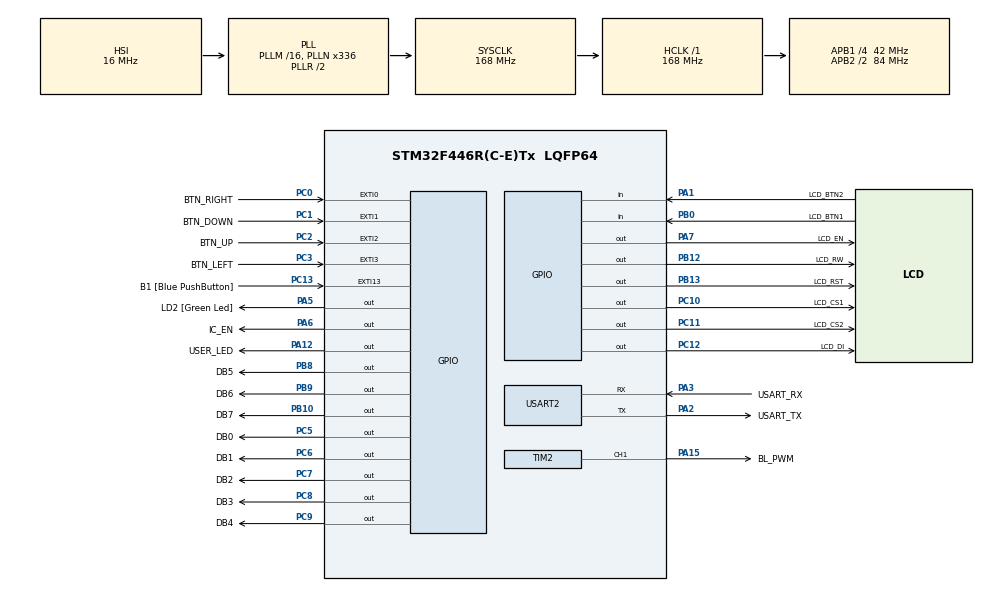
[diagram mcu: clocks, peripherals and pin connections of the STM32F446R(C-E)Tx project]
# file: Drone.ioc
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Mcu.Family=STM32F4
Mcu.Name=STM32F446R(C-E)Tx
Mcu.Package=LQFP64
NVIC.EXTI0_IRQn=true\:0\:0\:false\:false\:true\:true\:true\:true
NVIC.EXTI1_IRQn=true\:0\:0\:false\:false\:true\:true\:true\:true
NVIC.EXTI2_IRQn=true\:0\:0\:false\:false\:true\:true\:true\:true
NVIC.EXTI3_IRQn=true\:0\:0\:false\:false\:true\:true\:true\:true
NVIC.PriorityGroup=NVIC_PRIORITYGROUP_0
NVIC.TIM4_IRQn=true\:0\:0\:false\:false\:true\:true\:true\:true
NVIC.USART2_IRQn=true\:0\:0\:false\:false\:true\:true\:true\:true
PA1.GPIO_Label=LCD_BTN2
PA1.Signal=GPIO_Input
PA12.GPIO_Label=USER_LED
PA12.Signal=GPIO_Output
PA13.GPIO_Label=TMS
PA13.Mode=Serial_Wire
PA13.Signal=SYS_JTMS-SWDIO
PA14.GPIO_Label=TCK
PA14.Mode=Serial_Wire
PA14.Signal=SYS_JTCK-SWCLK
PA15.GPIO_Label=BL_PWM
PA15.Signal=S_TIM2_CH1_ETR
PA2.GPIO_Label=USART_TX
PA2.Mode=Asynchronous
PA2.Signal=USART2_TX
PA3.GPIO_Label=USART_RX
PA3.Mode=Asynchronous
PA3.Signal=USART2_RX
PA5.GPIO_Label=LD2 [Green Led]
PA5.Signal=GPIO_Output
PA6.GPIO_Label=IC_EN
PA6.PinState=GPIO_PIN_SET
PA6.Signal=GPIO_Output
PA7.GPIO_Label=LCD_EN
PA7.Signal=GPIO_Output
PB0.GPIO_Label=LCD_BTN1
PB0.Signal=GPIO_Input
PB10.GPIO_Label=DB7
PB10.Signal=GPIO_Output
PB12.GPIO_Label=LCD_RW
PB12.Signal=GPIO_Output
PB13.GPIO_Label=LCD_RST
PB13.PinState=GPIO_PIN_SET
PB13.Signal=GPIO_Output
PB3.GPIO_Label=SWO
PB3.Signal=SYS_JTDO-SWO
PB8.GPIO_Label=DB5
PB8.Signal=GPIO_Output
PB9.GPIO_Label=DB6
PB9.Signal=GPIO_Output
PC0.GPIO_Label=BTN_RIGHT
PC0.GPIO_ModeDefaultEXTI=GPIO_MODE_IT_FALLING
PC0.Signal=GPXTI0
PC1.GPIO_Label=BTN_DOWN
PC1.GPIO_ModeDefaultEXTI=GPIO_MODE_IT_FALLING
PC1.Signal=GPXTI1
PC10.GPIO_Label=LCD_CS1
PC10.PinState=GPIO_PIN_SET
PC10.Signal=GPIO_Output
PC11.GPIO_Label=LCD_CS2
PC11.PinState=GPIO_PIN_SET
PC11.Signal=GPIO_Output
PC12.GPIO_Label=LCD_DI
PC12.Signal=GPIO_Output
PC13.GPIO_Label=B1 [Blue PushButton]
PC13.GPIO_ModeDefaultEXTI=GPIO_MODE_IT_FALLING
PC13.Signal=GPXTI13
PC14-OSC32_IN.Mode=LSE-External-Oscillator
PC14-OSC32_IN.Signal=RCC_OSC32_IN
PC15-OSC32_OUT.Mode=LSE-External-Oscillator
PC15-OSC32_OUT.Signal=RCC_OSC32_OUT
PC2.GPIO_Label=BTN_UP
PC2.GPIO_ModeDefaultEXTI=GPIO_MODE_IT_FALLING
PC2.Signal=GPXTI2
PC3.GPIO_Label=BTN_LEFT
PC3.GPIO_ModeDefaultEXTI=GPIO_MODE_IT_FALLING
PC3.Signal=GPXTI3
PC5.GPIO_Label=DB0
PC5.Signal=GPIO_Output
PC6.GPIO_Label=DB1
PC6.Signal=GPIO_Output
PC7.GPIO_Label=DB2
PC7.Signal=GPIO_Output
PC8.GPIO_Label=DB3
PC8.Signal=GPIO_Output
PC9.GPIO_Label=DB4
PC9.Signal=GPIO_Output
PH0-OSC_IN.Mode=HSE-External-Oscillator
PH0-OSC_IN.Signal=RCC_OSC_IN
PH1-OSC_OUT.Mode=HSE-External-Oscillator
PH1-OSC_OUT.Signal=RCC_OSC_OUT
ProjectManager.HeapSize=0x200
ProjectManager.StackSize=0x400
ProjectManager.TargetToolchain=STM32CubeIDE
RCC.48MHZClocksFreq_Value=84000000
RCC.AHBFreq_Value=168000000
RCC.APB1CLKDivider=RCC_HCLK_DIV4
RCC.APB1Freq_Value=42000000
RCC.APB1TimFreq_Value=84000000
RCC.APB2CLKDivider=RCC_HCLK_DIV2
RCC.APB2Freq_Value=84000000
RCC.APB2TimFreq_Value=168000000
RCC.CortexFreq_Value=168000000
RCC.FLatency-AdvancedSettings=FLASH_LATENCY_5
RCC.HCLKFreq_Value=168000000
RCC.HSE_VALUE=8000000
RCC.HSI_VALUE=16000000
RCC.PLLN=336
RCC.PLLP=RCC_PLLP_DIV4
RCC.SYSCLKFreq_VALUE=168000000
RCC.SYSCLKSource=RCC_SYSCLKSOURCE_PLLRCLK
RCC.USBFreq_Value=168000000
RCC.VCOOutputFreq_Value=336000000
SH.S_TIM2_CH1_ETR.0=TIM2_CH1,PWM Generation1 CH1
TIM2.AutoReloadPreload=TIM_AUTORELOAD_PRELOAD_ENABLE
TIM2.Channel-PWM\ Generation1\ CH1=TIM_CHANNEL_1
TIM2.ClockDivision=TIM_CLOCKDIVISION_DIV1
TIM2.Period=10000
TIM2.Prescaler=0
TIM2.Pulse-PWM\ Generation1\ CH1=5000
TIM4.CounterMode=TIM_COUNTERMODE_DOWN
TIM4.Period=84
USART2.VirtualMode=VM_ASYNC
VP_TIM2_VS_ClockSourceINT.Mode=Internal
VP_TIM4_VS_ClockSourceINT.Mode=Internal
board=NUCLEO-F446RE

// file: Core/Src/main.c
/* USER CODE BEGIN Header */
/**
 ******************************************************************************
 * @file           : main.c
 * @brief          : Main program body
 ******************************************************************************
 * @attention
 *
 * Copyright (c) 2024 STMicroelectronics.
 * All rights reserved.
 *
 * This software is licensed under terms that can be found in the LICENSE file
 * in the root directory of this software component.
 * If no LICENSE file comes with this software, it is provided AS-IS.
 *
 ******************************************************************************
 */
/* USER CODE END Header */
#include "main.h"

/* USER CODE BEGIN Includes */
#include "lcd.h"
#include "menu.h"
#include <stdbool.h>
/* USER CODE END Includes */

/* USER CODE BEGIN PD */
#define DEBOUNCE_DELAY 200
/* USER CODE END PD */

TIM_HandleTypeDef htim2;
TIM_HandleTypeDef htim4;
UART_HandleTypeDef huart2;

/* USER CODE BEGIN PV */

volatile int sys_delay = 0;
volatile bool update_required = false;
volatile bool debounce = false;
uint32_t last_time_btn_pressed = 0;

extern MenuState menu_state;
extern MainMenuItems main_menu_items;

/* USER CODE END PV */

void SystemClock_Config(void);
static void MX_GPIO_Init(void);
static void MX_TIM2_Init(void);
static void MX_TIM4_Init(void);
static void MX_USART2_UART_Init(void);

/* USER CODE BEGIN 0 */

void HandleDebounce() {
	if (debounce) {
		if (HAL_GetTick() - last_time_btn_pressed >= DEBOUNCE_DELAY) {
			debounce = false;
		}
	}
}

void HAL_GPIO_EXTI_Callback(uint16_t GPIO_Pin) {
	uint32_t current_time = HAL_GetTick();
	if (debounce) {
		return;
	}
	debounce = true;
	last_time_btn_pressed = current_time;

	switch (GPIO_Pin) {
	case BTN_UP_Pin:
		if (main_menu_items > 0 && menu_state == MAIN_MENU) {
			main_menu_items--;
		}
		break;

	case BTN_DOWN_Pin:
		if (main_menu_items < 3 && menu_state == MAIN_MENU) {
			main_menu_items++;
		}
		break;

	case BTN_RIGHT_Pin:
		menu_state = SUB_MENU;
		break;

	case BTN_LEFT_Pin:
		menu_state = MAIN_MENU;
		break;
	}

	update_required = true;
}

void HAL_TIM_PeriodElapsedCallback(TIM_HandleTypeDef *handle) {
	if (handle->Instance == TIM4) {
		if (sys_delay > 0) {
			sys_delay--;
		}
	}
}

void Sys_DelayUs(int us) {
	sys_delay = us;
	while (sys_delay)
		;
}

void Init_Peripherials() {
	HAL_Init();
	SystemClock_Config();
	MX_GPIO_Init();
	MX_TIM2_Init();
	MX_TIM4_Init();
	MX_USART2_UART_Init();
}

void Start_Peripherials() {
	HAL_TIM_Base_Start_IT(&htim4);
	HAL_TIM_PWM_Start(&htim2, TIM_CHANNEL_1);
	Init_LCD();
}

/* LCD WRITE CHAR: X POZÍCIÓ 1-ESÉVEL NÖVELVE MŰKÖDIK ÉS 8 HELYET HAGY
 Y POZÍCIÓT 6-OSÁVAL KELL NÖVELNI
 LCD WRITE STRING: FORDÍTVA VAN AZ X ÉS Y
 1. PARAMÉTERT 6-OSÁVAL KELL NÖVELNI - EZ A KIJELZŐN AZ OSZLOPOK KOORDINÁTÁJA ((0-122) / 6)
 2. PARAMÉTERT ELÉG EGYESÉVEL MERT FIGYELEMBE VESZI A KARAKTEREK MAGASSÁGÁT - EZ A KIJELZŐN A SOROK KOORDINÁTÁJA (0-7)
 EGY KARAKTER MAGASSÁGA: 8 PIXEL, SZÉLESSÉGE 6 PIXEL:
 */

/* USER CODE END 0 */

int main(void)
{

  /* USER CODE BEGIN 1 */
	Init_Peripherials();
	Start_Peripherials();
  /* USER CODE END 1 */

  /* MCU Configuration--------------------------------------------------------*/

  /* Reset of all peripherals, Initializes the Flash interface and the Systick. */

  /* Configure the system clock */

  /* Initialize all configured peripherals */
  /* USER CODE BEGIN 2 */
	menu_state = MAIN_MENU;
	main_menu_items = UART_CONFIG;
	Update_Main_Menu();
  /* USER CODE END 2 */

  /* Infinite loop */
  /* USER CODE BEGIN WHILE */
	while (1) {
		HandleDebounce();

		if (update_required) {
			if (menu_state == MAIN_MENU) {
				Update_Main_Menu();
			} else if (menu_state == SUB_MENU) {
				Update_Sub_Menu();
			}
			update_required = false;
		}
    /* USER CODE END WHILE */

}
}

void SystemClock_Config(void)
{
  RCC_OscInitTypeDef RCC_OscInitStruct = {0};
  RCC_ClkInitTypeDef RCC_ClkInitStruct = {0};

  /** Configure the main internal regulator output voltage
  */
  __HAL_RCC_PWR_CLK_ENABLE();
  __HAL_PWR_VOLTAGESCALING_CONFIG(PWR_REGULATOR_VOLTAGE_SCALE1);

  /** Initializes the RCC Oscillators according to the specified parameters
  * in the RCC_OscInitTypeDef structure.
  */
  RCC_OscInitStruct.OscillatorType = RCC_OSCILLATORTYPE_HSI;
  RCC_OscInitStruct.HSIState = RCC_HSI_ON;
  RCC_OscInitStruct.HSICalibrationValue = RCC_HSICALIBRATION_DEFAULT;
  RCC_OscInitStruct.PLL.PLLState = RCC_PLL_ON;
  RCC_OscInitStruct.PLL.PLLSource = RCC_PLLSOURCE_HSI;
  RCC_OscInitStruct.PLL.PLLM = 16;
  RCC_OscInitStruct.PLL.PLLN = 336;
  RCC_OscInitStruct.PLL.PLLP = RCC_PLLP_DIV4;
  RCC_OscInitStruct.PLL.PLLQ = 2;
  RCC_OscInitStruct.PLL.PLLR = 2;
  if (HAL_RCC_OscConfig(&RCC_OscInitStruct) != HAL_OK)
  {
    Error_Handler();
  }

  /** Initializes the CPU, AHB and APB buses clocks
  */
  RCC_ClkInitStruct.ClockType = RCC_CLOCKTYPE_HCLK|RCC_CLOCKTYPE_SYSCLK
                              |RCC_CLOCKTYPE_PCLK1|RCC_CLOCKTYPE_PCLK2;
  RCC_ClkInitStruct.SYSCLKSource = RCC_SYSCLKSOURCE_PLLRCLK;
  RCC_ClkInitStruct.AHBCLKDivider = RCC_SYSCLK_DIV1;
  RCC_ClkInitStruct.APB1CLKDivider = RCC_HCLK_DIV4;
  RCC_ClkInitStruct.APB2CLKDivider = RCC_HCLK_DIV2;

  if (HAL_RCC_ClockConfig(&RCC_ClkInitStruct, FLASH_LATENCY_5) != HAL_OK)
  {
    Error_Handler();
  }
}

static void MX_TIM2_Init(void)
{

  TIM_ClockConfigTypeDef sClockSourceConfig = {0};
  TIM_MasterConfigTypeDef sMasterConfig = {0};
  TIM_OC_InitTypeDef sConfigOC = {0};

  htim2.Instance = TIM2;
  htim2.Init.Prescaler = 0;
  htim2.Init.CounterMode = TIM_COUNTERMODE_UP;
  htim2.Init.Period = 10000;
  htim2.Init.ClockDivision = TIM_CLOCKDIVISION_DIV1;
  htim2.Init.AutoReloadPreload = TIM_AUTORELOAD_PRELOAD_ENABLE;
  if (HAL_TIM_Base_Init(&htim2) != HAL_OK)
  {
    Error_Handler();
  }
  sClockSourceConfig.ClockSource = TIM_CLOCKSOURCE_INTERNAL;
  if (HAL_TIM_ConfigClockSource(&htim2, &sClockSourceConfig) != HAL_OK)
  {
    Error_Handler();
  }
  if (HAL_TIM_PWM_Init(&htim2) != HAL_OK)
  {
    Error_Handler();
  }
  sMasterConfig.MasterOutputTrigger = TIM_TRGO_RESET;
  sMasterConfig.MasterSlaveMode = TIM_MASTERSLAVEMODE_DISABLE;
  if (HAL_TIMEx_MasterConfigSynchronization(&htim2, &sMasterConfig) != HAL_OK)
  {
    Error_Handler();
  }
  sConfigOC.OCMode = TIM_OCMODE_PWM1;
  sConfigOC.Pulse = 5000;
  sConfigOC.OCPolarity = TIM_OCPOLARITY_HIGH;
  sConfigOC.OCFastMode = TIM_OCFAST_DISABLE;
  if (HAL_TIM_PWM_ConfigChannel(&htim2, &sConfigOC, TIM_CHANNEL_1) != HAL_OK)
  {
    Error_Handler();
  }
  HAL_TIM_MspPostInit(&htim2);

}

static void MX_TIM4_Init(void)
{

  TIM_ClockConfigTypeDef sClockSourceConfig = {0};
  TIM_MasterConfigTypeDef sMasterConfig = {0};

  htim4.Instance = TIM4;
  htim4.Init.Prescaler = 0;
  htim4.Init.CounterMode = TIM_COUNTERMODE_DOWN;
  htim4.Init.Period = 84;
  htim4.Init.ClockDivision = TIM_CLOCKDIVISION_DIV1;
  htim4.Init.AutoReloadPreload = TIM_AUTORELOAD_PRELOAD_DISABLE;
  if (HAL_TIM_Base_Init(&htim4) != HAL_OK)
  {
    Error_Handler();
  }
  sClockSourceConfig.ClockSource = TIM_CLOCKSOURCE_INTERNAL;
  if (HAL_TIM_ConfigClockSource(&htim4, &sClockSourceConfig) != HAL_OK)
  {
    Error_Handler();
  }
  sMasterConfig.MasterOutputTrigger = TIM_TRGO_RESET;
  sMasterConfig.MasterSlaveMode = TIM_MASTERSLAVEMODE_DISABLE;
  if (HAL_TIMEx_MasterConfigSynchronization(&htim4, &sMasterConfig) != HAL_OK)
  {
    Error_Handler();
  }

}

static void MX_USART2_UART_Init(void)
{

  huart2.Instance = USART2;
  huart2.Init.BaudRate = 115200;
  huart2.Init.WordLength = UART_WORDLENGTH_8B;
  huart2.Init.StopBits = UART_STOPBITS_1;
  huart2.Init.Parity = UART_PARITY_NONE;
  huart2.Init.Mode = UART_MODE_TX_RX;
  huart2.Init.HwFlowCtl = UART_HWCONTROL_NONE;
  huart2.Init.OverSampling = UART_OVERSAMPLING_16;
  if (HAL_UART_Init(&huart2) != HAL_OK)
  {
    Error_Handler();
  }

}

static void MX_GPIO_Init(void)
{
  GPIO_InitTypeDef GPIO_InitStruct = {0};

  /* GPIO Ports Clock Enable */
  __HAL_RCC_GPIOC_CLK_ENABLE();
  __HAL_RCC_GPIOH_CLK_ENABLE();
  __HAL_RCC_GPIOA_CLK_ENABLE();
  __HAL_RCC_GPIOB_CLK_ENABLE();

  /*Configure GPIO pin Output Level */
  HAL_GPIO_WritePin(GPIOA, LD2_Pin|LCD_EN_Pin|USER_LED_Pin, GPIO_PIN_RESET);

  /*Configure GPIO pin Output Level */
  HAL_GPIO_WritePin(IC_EN_GPIO_Port, IC_EN_Pin, GPIO_PIN_SET);

  /*Configure GPIO pin Output Level */
  HAL_GPIO_WritePin(GPIOC, DB0_Pin|DB1_Pin|DB2_Pin|DB3_Pin
                          |DB4_Pin|LCD_DI_Pin, GPIO_PIN_RESET);

  /*Configure GPIO pin Output Level */
  HAL_GPIO_WritePin(GPIOB, DB7_Pin|LCD_RW_Pin|DB5_Pin|DB6_Pin, GPIO_PIN_RESET);

  /*Configure GPIO pin Output Level */
  HAL_GPIO_WritePin(LCD_RST_GPIO_Port, LCD_RST_Pin, GPIO_PIN_SET);

  /*Configure GPIO pin Output Level */
  HAL_GPIO_WritePin(GPIOC, LCD_CS1_Pin|LCD_CS2_Pin, GPIO_PIN_SET);

  /*Configure GPIO pins : B1_Pin BTN_RIGHT_Pin BTN_DOWN_Pin BTN_UP_Pin
                           BTN_LEFT_Pin */
  GPIO_InitStruct.Pin = B1_Pin|BTN_RIGHT_Pin|BTN_DOWN_Pin|BTN_UP_Pin
                          |BTN_LEFT_Pin;
  GPIO_InitStruct.Mode = GPIO_MODE_IT_FALLING;
  GPIO_InitStruct.Pull = GPIO_NOPULL;
  HAL_GPIO_Init(GPIOC, &GPIO_InitStruct);

  /*Configure GPIO pin : LCD_BTN2_Pin */
  GPIO_InitStruct.Pin = LCD_BTN2_Pin;
  GPIO_InitStruct.Mode = GPIO_MODE_INPUT;
  GPIO_InitStruct.Pull = GPIO_NOPULL;
  HAL_GPIO_Init(LCD_BTN2_GPIO_Port, &GPIO_InitStruct);

  /*Configure GPIO pins : LD2_Pin IC_EN_Pin LCD_EN_Pin USER_LED_Pin */
  GPIO_InitStruct.Pin = LD2_Pin|IC_EN_Pin|LCD_EN_Pin|USER_LED_Pin;
  GPIO_InitStruct.Mode = GPIO_MODE_OUTPUT_PP;
  GPIO_InitStruct.Pull = GPIO_NOPULL;
  GPIO_InitStruct.Speed = GPIO_SPEED_FREQ_LOW;
  HAL_GPIO_Init(GPIOA, &GPIO_InitStruct);

  /*Configure GPIO pins : DB0_Pin DB1_Pin DB2_Pin DB3_Pin
                           DB4_Pin LCD_CS1_Pin LCD_CS2_Pin LCD_DI_Pin */
  GPIO_InitStruct.Pin = DB0_Pin|DB1_Pin|DB2_Pin|DB3_Pin
                          |DB4_Pin|LCD_CS1_Pin|LCD_CS2_Pin|LCD_DI_Pin;
  GPIO_InitStruct.Mode = GPIO_MODE_OUTPUT_PP;
  GPIO_InitStruct.Pull = GPIO_NOPULL;
  GPIO_InitStruct.Speed = GPIO_SPEED_FREQ_LOW;
  HAL_GPIO_Init(GPIOC, &GPIO_InitStruct);

  /*Configure GPIO pin : LCD_BTN1_Pin */
  GPIO_InitStruct.Pin = LCD_BTN1_Pin;
  GPIO_InitStruct.Mode = GPIO_MODE_INPUT;
  GPIO_InitStruct.Pull = GPIO_NOPULL;
  HAL_GPIO_Init(LCD_BTN1_GPIO_Port, &GPIO_InitStruct);

  /*Configure GPIO pins : DB7_Pin LCD_RW_Pin LCD_RST_Pin DB5_Pin
                           DB6_Pin */
  GPIO_InitStruct.Pin = DB7_Pin|LCD_RW_Pin|LCD_RST_Pin|DB5_Pin
                          |DB6_Pin;
  GPIO_InitStruct.Mode = GPIO_MODE_OUTPUT_PP;
  GPIO_InitStruct.Pull = GPIO_NOPULL;
  GPIO_InitStruct.Speed = GPIO_SPEED_FREQ_LOW;
  HAL_GPIO_Init(GPIOB, &GPIO_InitStruct);

  /* EXTI interrupt init*/
  HAL_NVIC_SetPriority(EXTI0_IRQn, 0, 0);
  HAL_NVIC_EnableIRQ(EXTI0_IRQn);

  HAL_NVIC_SetPriority(EXTI1_IRQn, 0, 0);
  HAL_NVIC_EnableIRQ(EXTI1_IRQn);

  HAL_NVIC_SetPriority(EXTI2_IRQn, 0, 0);
  HAL_NVIC_EnableIRQ(EXTI2_IRQn);

  HAL_NVIC_SetPriority(EXTI3_IRQn, 0, 0);
  HAL_NVIC_EnableIRQ(EXTI3_IRQn);

}

void Error_Handler(void)
{
	__disable_irq();
	while (1) {
	}
}
